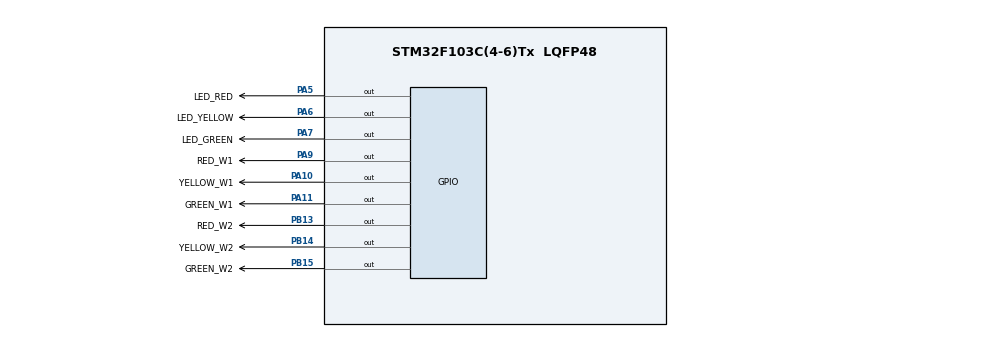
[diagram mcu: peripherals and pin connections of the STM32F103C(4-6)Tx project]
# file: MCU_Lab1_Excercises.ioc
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Mcu.Family=STM32F1
Mcu.Name=STM32F103C(4-6)Tx
Mcu.Package=LQFP48
NVIC.PriorityGroup=NVIC_PRIORITYGROUP_4
PA10.GPIO_Label=YELLOW_W1
PA10.Signal=GPIO_Output
PA11.GPIO_Label=GREEN_W1
PA11.Signal=GPIO_Output
PA5.GPIO_Label=LED_RED
PA5.Signal=GPIO_Output
PA6.GPIO_Label=LED_YELLOW
PA6.Signal=GPIO_Output
PA7.GPIO_Label=LED_GREEN
PA7.Signal=GPIO_Output
PA9.GPIO_Label=RED_W1
PA9.Signal=GPIO_Output
PB13.GPIO_Label=RED_W2
PB13.Signal=GPIO_Output
PB14.GPIO_Label=YELLOW_W2
PB14.Signal=GPIO_Output
PB15.GPIO_Label=GREEN_W2
PB15.Signal=GPIO_Output
ProjectManager.HeapSize=0x200
ProjectManager.StackSize=0x400
ProjectManager.TargetToolchain=STM32CubeIDE
RCC.APB1Freq_Value=8000000
RCC.APB2Freq_Value=8000000
VP_SYS_VS_ND.Mode=No_Debug
board=custom

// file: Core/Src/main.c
/* USER CODE BEGIN Header */
/**
  ******************************************************************************
  * @file           : main.c
  * @brief          : Main program body
  ******************************************************************************
  * @attention
  *
  * <h2><center>&copy; Copyright (c) 2025 STMicroelectronics.
  * All rights reserved.</center></h2>
  *
  * This software component is licensed by ST under BSD 3-Clause license,
  * the "License"; You may not use this file except in compliance with the
  * License. You may obtain a copy of the License at:
  *                        opensource.org/licenses/BSD-3-Clause
  *
  ******************************************************************************
  */
/* USER CODE END Header */
#include "main.h"
#include "gpio.h"

/* USER CODE BEGIN PTD */
typedef enum {
    RED = 0,
    YELLOW,
    GREEN,
} traffic_light_state_t;
/* USER CODE END PTD */

/* USER CODE BEGIN PD */
#define LED_ON 0
#define LED_OFF 1

#define RED_TIME 5
#define YELLOW_TIME 3
#define GREEN_TIME 2

/* USER CODE END PD */

/* USER CODE BEGIN PV */
void traffic_light_init();
/* USER CODE END PV */

void SystemClock_Config(void);

int main(void)
{

  /* MCU Configuration--------------------------------------------------------*/

  /* Reset of all peripherals, Initializes the Flash interface and the Systick. */
  HAL_Init();

  /* Configure the system clock */
  SystemClock_Config();

  /* Initialize all configured peripherals */
  MX_GPIO_Init();

  /* Infinite loop */
  /* USER CODE BEGIN WHILE */
  traffic_light_state_t tl_state_w1 = RED;
  int w1_counter = RED_TIME;
  traffic_light_state_t tl_state_w2 = GREEN;
  int w2_counter = GREEN_TIME;
  while (1)
  {
	  switch (tl_state_w2) {
	  	  case RED:
	  			HAL_GPIO_WritePin(RED_W2_GPIO_Port, RED_W2_Pin, LED_ON);
	  			HAL_GPIO_WritePin(YELLOW_W2_GPIO_Port, YELLOW_W2_Pin, LED_OFF);
	  			HAL_GPIO_WritePin(GREEN_W2_GPIO_Port, GREEN_W2_Pin, LED_OFF);
	  			w2_counter--;
	  			if(w2_counter <= 0) {
	  				tl_state_w2 = GREEN;
	  				w2_counter = GREEN_TIME;
	  			}
	  			break;
	  	  case GREEN:
	  		  	HAL_GPIO_WritePin(RED_W2_GPIO_Port, RED_W2_Pin, LED_OFF);
	  			HAL_GPIO_WritePin(YELLOW_W2_GPIO_Port, YELLOW_W2_Pin, LED_OFF);
	  			HAL_GPIO_WritePin(GREEN_W2_GPIO_Port, GREEN_W2_Pin, LED_ON);
	  			w2_counter--;
	  			if(w2_counter <= 0) {
	  				tl_state_w2 = YELLOW;
	  				w2_counter = YELLOW_TIME;
	  			}
	  			break;
	  	  case YELLOW:
	  		  	HAL_GPIO_WritePin(RED_W2_GPIO_Port, RED_W2_Pin, LED_OFF);
	  			HAL_GPIO_WritePin(YELLOW_W2_GPIO_Port, YELLOW_W2_Pin, LED_ON);
	  			HAL_GPIO_WritePin(GREEN_W2_GPIO_Port, GREEN_W2_Pin, LED_OFF);
	  			w2_counter--;
	  			if(w2_counter <= 0) {
	  				tl_state_w2 = RED;
	  				w2_counter = RED_TIME;
	  			}
	  			break;
	  	  default:
	  		    break;
	  	  }

	  switch (tl_state_w1) {
	  case RED:
			HAL_GPIO_WritePin(RED_W1_GPIO_Port, RED_W1_Pin, LED_ON);
			HAL_GPIO_WritePin(YELLOW_W1_GPIO_Port, YELLOW_W1_Pin, LED_OFF);
			HAL_GPIO_WritePin(GREEN_W1_GPIO_Port, GREEN_W1_Pin, LED_OFF);
			w1_counter--;
			if(w1_counter <= 0) {
				tl_state_w1 = GREEN;
				w1_counter = GREEN_TIME;
			}
			break;
	  case GREEN:
		  	HAL_GPIO_WritePin(RED_W1_GPIO_Port, RED_W1_Pin, LED_OFF);
			HAL_GPIO_WritePin(YELLOW_W1_GPIO_Port, YELLOW_W1_Pin, LED_OFF);
			HAL_GPIO_WritePin(GREEN_W1_GPIO_Port, GREEN_W1_Pin, LED_ON);
			w1_counter--;
			if(w1_counter <= 0) {
				tl_state_w1 = YELLOW;
				w1_counter = YELLOW_TIME;
			}
			break;
	  case YELLOW:
		  	HAL_GPIO_WritePin(RED_W1_GPIO_Port, RED_W1_Pin, LED_OFF);
			HAL_GPIO_WritePin(YELLOW_W1_GPIO_Port, YELLOW_W1_Pin, LED_ON);
			HAL_GPIO_WritePin(GREEN_W1_GPIO_Port, GREEN_W1_Pin, LED_OFF);
			w1_counter--;
			if(w1_counter <= 0) {
				tl_state_w1 = RED;
				w1_counter = RED_TIME;
			}
			break;
	  default:
		    break;
	  }

	  HAL_Delay(1000);

    /* USER CODE END WHILE */

  }
}

void SystemClock_Config(void)
{
  RCC_OscInitTypeDef RCC_OscInitStruct = {0};
  RCC_ClkInitTypeDef RCC_ClkInitStruct = {0};

  /** Initializes the RCC Oscillators according to the specified parameters
  * in the RCC_OscInitTypeDef structure.
  */
  RCC_OscInitStruct.OscillatorType = RCC_OSCILLATORTYPE_HSI;
  RCC_OscInitStruct.HSIState = RCC_HSI_ON;
  RCC_OscInitStruct.HSICalibrationValue = RCC_HSICALIBRATION_DEFAULT;
  RCC_OscInitStruct.PLL.PLLState = RCC_PLL_NONE;
  if (HAL_RCC_OscConfig(&RCC_OscInitStruct) != HAL_OK)
  {
    Error_Handler();
  }
  /** Initializes the CPU, AHB and APB buses clocks
  */
  RCC_ClkInitStruct.ClockType = RCC_CLOCKTYPE_HCLK|RCC_CLOCKTYPE_SYSCLK
                              |RCC_CLOCKTYPE_PCLK1|RCC_CLOCKTYPE_PCLK2;
  RCC_ClkInitStruct.SYSCLKSource = RCC_SYSCLKSOURCE_HSI;
  RCC_ClkInitStruct.AHBCLKDivider = RCC_SYSCLK_DIV1;
  RCC_ClkInitStruct.APB1CLKDivider = RCC_HCLK_DIV1;
  RCC_ClkInitStruct.APB2CLKDivider = RCC_HCLK_DIV1;

  if (HAL_RCC_ClockConfig(&RCC_ClkInitStruct, FLASH_LATENCY_0) != HAL_OK)
  {
    Error_Handler();
  }
}

/* USER CODE BEGIN 4 */
void traffic_light_init() {
	HAL_GPIO_WritePin(RED_W1_GPIO_Port, RED_W1_Pin, LED_OFF);
	HAL_GPIO_WritePin(YELLOW_W1_GPIO_Port, YELLOW_W1_Pin, LED_OFF);
	HAL_GPIO_WritePin(GREEN_W1_GPIO_Port, GREEN_W1_Pin, LED_OFF);
	HAL_GPIO_WritePin(RED_W2_GPIO_Port, RED_W2_Pin, LED_OFF);
	HAL_GPIO_WritePin(YELLOW_W2_GPIO_Port, YELLOW_W2_Pin, LED_OFF);
	HAL_GPIO_WritePin(GREEN_W2_GPIO_Port, GREEN_W2_Pin, LED_OFF);
}
/* USER CODE END 4 */

void Error_Handler(void)
{
  __disable_irq();
  while (1)
  {
  }
}

/************************ (C) COPYRIGHT STMicroelectronics *****END OF FILE****/
